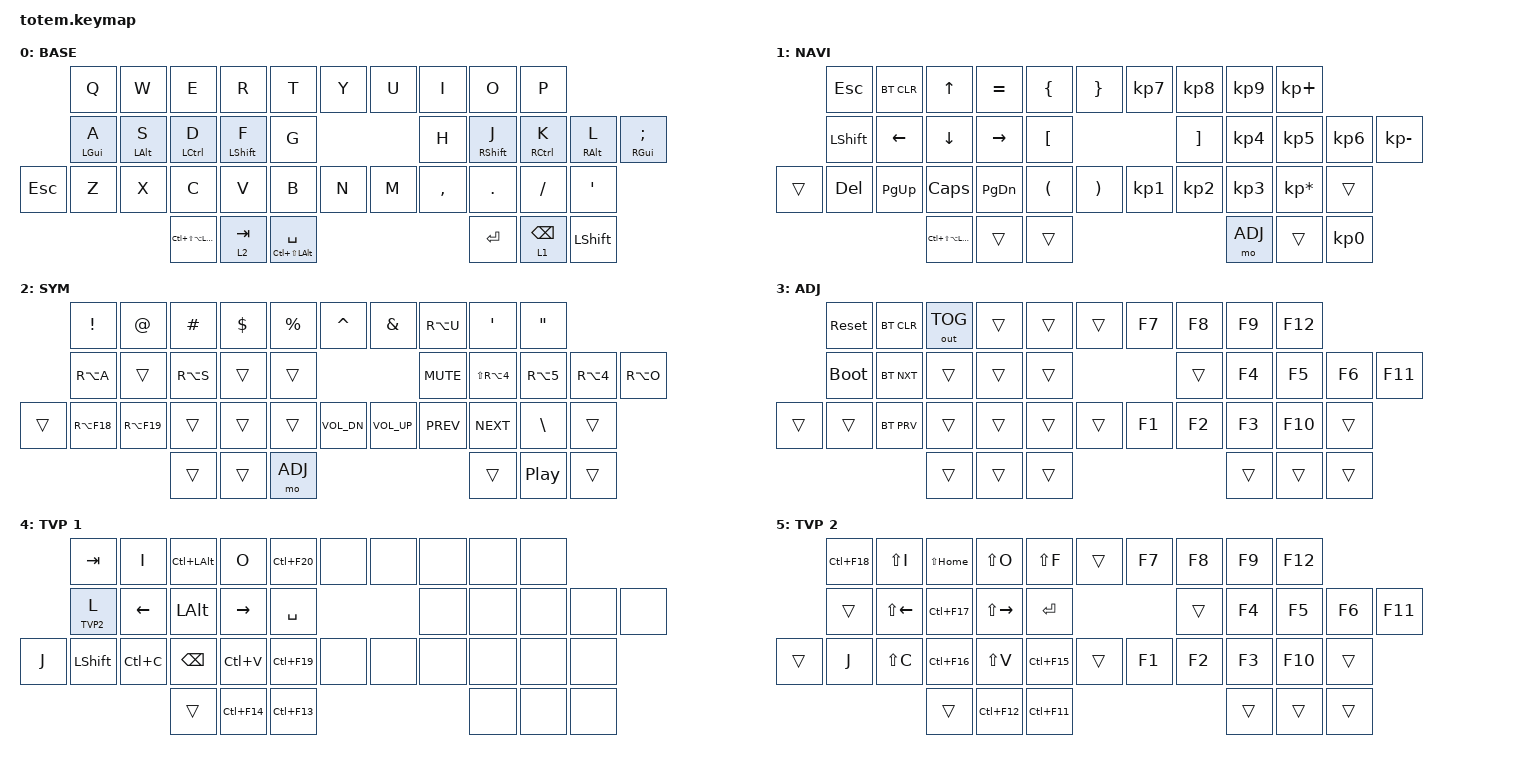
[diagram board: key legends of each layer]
//
//                                                        ▀▀▀▀▀     ▀▀▀▀▀          ▀▀█▀▀
//                                                        ▄▀▀▀▄  ▄  ▄▀▀▀▄  ▄  ▄▀▀▀▄  █  ▄▀▀▀▄
//                                                        █   █  █  █   █  █  █   █  █  █   █
//                                                         ▀▀▀   █   ▀▀▀   █   ▀▀▀   ▀   ▀▀▀
//                                                               █      ▄▄▄█▄▄▄    █   █  
//                                                               ▀      █  █  █     █▄█
//                                                             ▀▀▀▀▀    █  █  █      ▀
//                                                                      ▀  ▀  ▀
//
// ▄▄▄▄▄▄▄▄▄▄▄▄▄▄▄▄▄▄▄▄▄▄▄▄▄▄▄▄▄▄▄▄▄▄▄▄▄▄▄▄▄▄▄▄▄▄▄▄▄▄▄▄▄▄▄▄▄▄▄▄▄▄▄▄▄▄▄▄▄▄▄▄▄▄▄▄▄▄▄▄▄▄▄▄▄▄▄▄▄▄▄▄▄▄▄▄▄▄▄▄▄▄▄▄▄▄▄▄▄▄▄▄▄▄▄▄▄▄▄▄▄▄▄▄▄▄▄▄▄▄▄▄▄▄▄▄▄▄▄▄▄▄▄▄▄▄▄▄▄

#include <behaviors.dtsi>
#include <dt-bindings/zmk/bt.h>
#include <dt-bindings/zmk/keys.h>
#include <dt-bindings/zmk/outputs.h>

#define BASE 0
#define NAV  1
#define SYM  2
#define ADJ  3
#define TVP1 4
#define TVP2 5

&mt {
    quick-tap-ms = <150>;
    global-quick-tap;
    flavor = "tap-preferred";
    tapping-term-ms = <170>;
};

/ {
    behaviors {
    hml: home_row_mod_left {
        compatible = "zmk,behavior-hold-tap";
        #binding-cells = <2>;
        flavor = "balanced";
        require-prior-idle-ms = <150>;
        tapping-term-ms = <280>;
        quick-tap-ms = <175>;
        bindings = <&kp>, <&kp>;

        hold-trigger-key-positions = < 15 16 17 18 >; // List of keys on the right side of the keyboard
        hold-trigger-on-release;
    };

    hmr: home_row_mod_right {
        compatible = "zmk,behavior-hold-tap";
        #binding-cells = <2>;
        flavor = "balanced";
        require-prior-idle-ms = <150>;
        tapping-term-ms = <280>;
        quick-tap-ms = <175>;
        bindings = <&kp>, <&kp>;

        hold-trigger-key-positions = < 10 11 12 13 >; // List of keys on the left side of the keyboard
        hold-trigger-on-release;
    };
    };

    combos { compatible = "zmk,combos"; };

    macros {
        HYPER: HYPER {
            compatible = "zmk,behavior-macro";
            #binding-cells = <0>;
            bindings =
                <&macro_tap &kp LEFT_SHIFT &kp LEFT_GUI &kp LEFT_ALT &kp LEFT_CONTROL>;

            label = "HYPER";
        };
    };

    behaviors {
    };

    keymap {
        compatible = "zmk,keymap";

        // ▄▄▄▄▄▄▄▄▄▄▄▄▄▄▄▄▄▄▄▄▄▄▄▄▄▄▄▄▄▄▄▄▄▄▄▄▄▄▄▄▄▄▄▄▄▄▄▄▄▄▄▄▄▄▄▄▄▄▄▄▄▄▄▄▄▄▄▄▄▄▄▄▄▄▄▄▄▄▄▄▄▄▄▄▄▄▄▄▄▄▄▄▄▄▄▄▄▄▄▄▄▄▄▄▄▄▄▄▄▄▄▄▄▄▄▄▄▄▄▄▄▄▄▄▄▄▄▄▄▄▄▄▄▄▄▄▄▄▄▄▄▄▄▄▄▄▄▄▄

        base_layer {
            // ┏━━━━━━━━━━━━━━━━━━━━━━━━━━━━━━━━━━━━━━━┓

            label = "BASE";

            // ┗━━━━━━━━━━━━━━━━━━━━━━━━━━━━━━━━━━━━━━━┛
            //             ┏━━━━━━━━━━━┳━━━━━━━━━━━┳━━━━━━━━━━━┳━━━━━━━━━━━┳━━━━━━━━━━━┓   ┏━━━━━━━━━━━┳━━━━━━━━━━━┳━━━━━━━━━━━┳━━━━━━━━━━━┳━━━━━━━━━━━┓
            //             ┃     Q     ┃     W     ┃     F     ┃     P     ┃     G     ┃   ┃     J     ┃     L     ┃     U     ┃     Y     ┃     ;     ┃
            //             ┣━━━━━━━━━━━╋━━━━━━━━━━━╋━━━━━━━━━━━╋━━━━━━━━━━━╋━━━━━━━━━━━┫   ┣━━━━━━━━━━━╋━━━━━━━━━━━╋━━━━━━━━━━━╋━━━━━━━━━━━╋━━━━━━━━━━━┫
            //             ┃     A     ┃     R     ┃     S     ┃     T     ┃     D     ┃   ┃     H     ┃     N     ┃     E     ┃     I     ┃     O     ┃
            // ┏━━━━━━━━━━━╋━━━━━━━━━━━╋━━━━━━━━━━━╋━━━━━━━━━━━╋━━━━━━━━━━━╋━━━━━━━━━━━┫   ┣━━━━━━━━━━━╋━━━━━━━━━━━╋━━━━━━━━━━━╋━━━━━━━━━━━╋━━━━━━━━━━━╋━━━━━━━━━━━┓
            // ┃     Q     ┃     Z     ┃     X     ┃     C     ┃     V     ┃     B     ┃   ┃     K     ┃     M     ┃     ,     ┃     .     ┃     /     ┃     \     ┃
            // ┗━━━━━━━━━━━┻━━━━━━━━━━━┻━━━━━━━━━━━╋━━━━━━━━━━━╋━━━━━━━━━━━╋━━━━━━━━━━━┫   ┣━━━━━━━━━━━╋━━━━━━━━━━━╋━━━━━━━━━━━╋━━━━━━━━━━━┻━━━━━━━━━━━┻━━━━━━━━━━━┛
            //                                     ┃    DEL    ┃    TAB    ┃    SPC    ┃   ┃   ENTER   ┃           ┃   BSPC    ┃
            //                                     ┗━━━━━━━━━━━┻━━━━━━━━━━━┻━━━━━━━━━━━┛   ┗━━━━━━━━━━━┻━━━━━━━━━━━┻━━━━━━━━━━━┛

            bindings = <
         &kp Q            &kp W            &kp E         &kp R         &kp T        &kp Y      &kp U            &kp I           &kp O    &kp P
         &hml LEFT_GUI A  &hml LEFT_ALT S  &hml LCTRL D  &hml LSHFT F  &kp G        &kp H      &hmr RSHIFT J            &hmr RCTRL K           &hmr RIGHT_ALT L    &hmr RIGHT_GUI SEMI
&kp ESC  &kp Z            &kp X            &kp C         &kp V         &kp B        &kp N      &kp M            &kp COMMA       &kp DOT  &kp FSLH  &kp SQT
                                           &kp LC(LS(LA(LEFT_GUI)))        &lt 2 TAB     &mt LC(LS(LALT)) SPACE    &kp ENTER  &lt 1 BACKSPACE  &kp LEFT_SHIFT
            >;
        };

        // ▄▄▄▄▄▄▄▄▄▄▄▄▄▄▄▄▄▄▄▄▄▄▄▄▄▄▄▄▄▄▄▄▄▄▄▄▄▄▄▄▄▄▄▄▄▄▄▄▄▄▄▄▄▄▄▄▄▄▄▄▄▄▄▄▄▄▄▄▄▄▄▄▄▄▄▄▄▄▄▄▄▄▄▄▄▄▄▄▄▄▄▄▄▄▄▄▄▄▄▄▄▄▄▄▄▄▄▄▄▄▄▄▄▄▄▄▄▄▄▄▄▄▄▄▄▄▄▄▄▄▄▄▄▄▄▄▄▄▄▄▄▄▄▄▄▄▄▄▄

        nav_layer {
            // ┏━━━━━━━━━━━━━━━━━━━━━━━━━━━━━━━━━━━━━━━┓

            label = "NAVI";

            // ┗━━━━━━━━━━━━━━━━━━━━━━━━━━━━━━━━━━━━━━━┛
            //             ┏━━━━━━━━━━━┳━━━━━━━━━━━┳━━━━━━━━━━━┳━━━━━━━━━━━┳━━━━━━━━━━━┓   ┏━━━━━━━━━━━┳━━━━━━━━━━━┳━━━━━━━━━━━┳━━━━━━━━━━━┳━━━━━━━━━━━┓
            //             ┃           ┃           ┃     UP    ┃           ┃     {     ┃   ┃     }     ┃     7     ┃     8     ┃     9     ┃     +     ┃
            //             ┣━━━━━━━━━━━╋━━━━━━━━━━━╋━━━━━━━━━━━╋━━━━━━━━━━━╋━━━━━━━━━━━┫   ┣━━━━━━━━━━━╋━━━━━━━━━━━╋━━━━━━━━━━━╋━━━━━━━━━━━╋━━━━━━━━━━━┫
            //             ┃   SHIFT   ┃   LEFT    ┃    DOWN   ┃   RIGHT   ┃     [     ┃   ┃     ]     ┃     4     ┃     5     ┃     6     ┃     -     ┃
            // ┏━━━━━━━━━━━╋━━━━━━━━━━━╋━━━━━━━━━━━╋━━━━━━━━━━━╋━━━━━━━━━━━╋━━━━━━━━━━━┫   ┣━━━━━━━━━━━╋━━━━━━━━━━━╋━━━━━━━━━━━╋━━━━━━━━━━━╋━━━━━━━━━━━╋━━━━━━━━━━━┓
            // ┃           ┃           ┃   P UP    ┃  C LOCK   ┃  P DOWN   ┃     (     ┃   ┃     )     ┃     1     ┃     2     ┃     3     ┃     *     ┃           ┃
            // ┗━━━━━━━━━━━┻━━━━━━━━━━━┻━━━━━━━━━━━╋━━━━━━━━━━━╋━━━━━━━━━━━╋━━━━━━━━━━━┫   ┣━━━━━━━━━━━╋━━━━━━━━━━━╋━━━━━━━━━━━╋━━━━━━━━━━━┻━━━━━━━━━━━┻━━━━━━━━━━━┛
            //                                     ┃           ┃    TAB    ┃    SPC    ┃   ┃    DEL    ┃     0     ┃           ┃
            //                                     ┗━━━━━━━━━━━┻━━━━━━━━━━━┻━━━━━━━━━━━┛   ┗━━━━━━━━━━━┻━━━━━━━━━━━┻━━━━━━━━━━━┛

            bindings = <
        &kp ESC    &bt BT_CLR  &kp UP    &kp EQUAL  &kp LBRC    &kp RBRC  &kp KP_N7  &kp KP_N8        &kp KP_N9  &kp KP_PLUS
        &kp LSHFT  &kp LEFT    &kp DOWN  &kp RIGHT  &kp LBKT    &kp RBKT  &kp KP_N4  &kp KP_N5        &kp KP_N6  &kp KP_MINUS
&trans  &kp DEL    &kp PG_UP   &kp CAPS  &kp PG_DN  &kp LPAR    &kp RPAR  &kp KP_N1  &kp KP_N2        &kp KP_N3  &kp KP_MULTIPLY  &trans
                               &kp LC(LS(LA(LEFT_GUI)))    &trans     &trans      &mo ADJ   &trans     &kp KP_NUMBER_0
            >;
        };

        // ▄▄▄▄▄▄▄▄▄▄▄▄▄▄▄▄▄▄▄▄▄▄▄▄▄▄▄▄▄▄▄▄▄▄▄▄▄▄▄▄▄▄▄▄▄▄▄▄▄▄▄▄▄▄▄▄▄▄▄▄▄▄▄▄▄▄▄▄▄▄▄▄▄▄▄▄▄▄▄▄▄▄▄▄▄▄▄▄▄▄▄▄▄▄▄▄▄▄▄▄▄▄▄▄▄▄▄▄▄▄▄▄▄▄▄▄▄▄▄▄▄▄▄▄▄▄▄▄▄▄▄▄▄▄▄▄▄▄▄▄▄▄▄▄▄▄▄▄▄

        sim_layer {
            // ┏━━━━━━━━━━━━━━━━━━━━━━━━━━━━━━━━━━━━━━━┓

            label = "SYM";

            // ┗━━━━━━━━━━━━━━━━━━━━━━━━━━━━━━━━━━━━━━━┛
            //             ┏━━━━━━━━━━━┳━━━━━━━━━━━┳━━━━━━━━━━━┳━━━━━━━━━━━┳━━━━━━━━━━━┓   ┏━━━━━━━━━━━┳━━━━━━━━━━━┳━━━━━━━━━━━┳━━━━━━━━━━━┳━━━━━━━━━━━┓
            //             ┃     !     ┃     @     ┃     #     ┃     $     ┃     %     ┃   ┃     ˆ     ┃     &     ┃     Ü     ┃     '     ┃     "     ┃
            //             ┣━━━━━━━━━━━╋━━━━━━━━━━━╋━━━━━━━━━━━╋━━━━━━━━━━━╋━━━━━━━━━━━┫   ┣━━━━━━━━━━━╋━━━━━━━━━━━╋━━━━━━━━━━━╋━━━━━━━━━━━╋━━━━━━━━━━━┫
            //             ┃     Ä     ┃           ┃    SZ     ┃           ┃           ┃   ┃   MUTE    ┃   YEN     ┃   EURO    ┃  POUND    ┃     Ö     ┃
            // ┏━━━━━━━━━━━╋━━━━━━━━━━━╋━━━━━━━━━━━╋━━━━━━━━━━━╋━━━━━━━━━━━╋━━━━━━━━━━━┫   ┣━━━━━━━━━━━╋━━━━━━━━━━━╋━━━━━━━━━━━╋━━━━━━━━━━━╋━━━━━━━━━━━╋━━━━━━━━━━━┓
            // ┃           ┃  EMAIL1   ┃  EMAIL2   ┃           ┃           ┃           ┃   ┃   VOL-    ┃   VOL+    ┃   LAST    ┃   NEXT    ┃     \     ┃           ┃
            // ┗━━━━━━━━━━━┻━━━━━━━━━━━┻━━━━━━━━━━━╋━━━━━━━━━━━╋━━━━━━━━━━━╋━━━━━━━━━━━┫   ┣━━━━━━━━━━━╋━━━━━━━━━━━╋━━━━━━━━━━━╋━━━━━━━━━━━┻━━━━━━━━━━━┻━━━━━━━━━━━┛
            //                                     ┃           ┃    GIF    ┃    ADJ    ┃   ┃           ┃           ┃           ┃
            //                                     ┗━━━━━━━━━━━┻━━━━━━━━━━━┻━━━━━━━━━━━┛   ┗━━━━━━━━━━━┻━━━━━━━━━━━┻━━━━━━━━━━━┛

            bindings = <
        &kp EXCL     &kp AT       &kp HASH   &kp DLLR  &kp PRCNT    &kp CARET     &kp AMPS        &kp RA(U)   &kp SQT     &kp DQT
        &kp RA(A)    &trans       &kp RA(S)  &trans    &trans       &kp C_MUTE    &kp LS(RA(N4))  &kp RA(N5)  &kp RA(N4)  &kp RA(O)
&trans  &kp RA(F18)  &kp RA(F19)  &trans     &trans    &trans       &kp C_VOL_DN  &kp C_VOL_UP    &kp C_PREV  &kp C_NEXT  &kp BSLH   &trans
                                  &trans     &trans    &mo ADJ      &trans        &kp C_PP        &trans
            >;
        };

        // ▄▄▄▄▄▄▄▄▄▄▄▄▄▄▄▄▄▄▄▄▄▄▄▄▄▄▄▄▄▄▄▄▄▄▄▄▄▄▄▄▄▄▄▄▄▄▄▄▄▄▄▄▄▄▄▄▄▄▄▄▄▄▄▄▄▄▄▄▄▄▄▄▄▄▄▄▄▄▄▄▄▄▄▄▄▄▄▄▄▄▄▄▄▄▄▄▄▄▄▄▄▄▄▄▄▄▄▄▄▄▄▄▄▄▄▄▄▄▄▄▄▄▄▄▄▄▄▄▄▄▄▄▄▄▄▄▄▄▄▄▄▄▄▄▄▄▄▄▄

        adjust_layer {
            // ┏━━━━━━━━━━━━━━━━━━━━━━━━━━━━━━━━━━━━━━━┓

            label = "ADJ";

            // ┗━━━━━━━━━━━━━━━━━━━━━━━━━━━━━━━━━━━━━━━┛
            //             ┏━━━━━━━━━━━┳━━━━━━━━━━━┳━━━━━━━━━━━┳━━━━━━━━━━━┳━━━━━━━━━━━┓   ┏━━━━━━━━━━━┳━━━━━━━━━━━┳━━━━━━━━━━━┳━━━━━━━━━━━┳━━━━━━━━━━━┓
            //             ┃   RESET   ┃ BT CLEAR  ┃  OUT TOG  ┃           ┃           ┃   ┃           ┃    F7     ┃    F8     ┃    F9     ┃    F12    ┃
            //             ┣━━━━━━━━━━━╋━━━━━━━━━━━╋━━━━━━━━━━━╋━━━━━━━━━━━╋━━━━━━━━━━━┫   ┣━━━━━━━━━━━╋━━━━━━━━━━━╋━━━━━━━━━━━╋━━━━━━━━━━━╋━━━━━━━━━━━┫
            //             ┃ BOOTLOAD  ┃ BT NEXT   ┃           ┃           ┃           ┃   ┃           ┃    F4     ┃    F5     ┃    F6     ┃    F11    ┃
            // ┏━━━━━━━━━━━╋━━━━━━━━━━━╋━━━━━━━━━━━╋━━━━━━━━━━━╋━━━━━━━━━━━╋━━━━━━━━━━━┫   ┣━━━━━━━━━━━╋━━━━━━━━━━━╋━━━━━━━━━━━╋━━━━━━━━━━━╋━━━━━━━━━━━╋━━━━━━━━━━━┓
            // ┃           ┃           ┃ BT PREV   ┃           ┃           ┃           ┃   ┃           ┃    F1     ┃    F2     ┃    F3     ┃    F10    ┃           ┃
            // ┗━━━━━━━━━━━┻━━━━━━━━━━━┻━━━━━━━━━━━╋━━━━━━━━━━━╋━━━━━━━━━━━╋━━━━━━━━━━━┫   ┣━━━━━━━━━━━╋━━━━━━━━━━━╋━━━━━━━━━━━╋━━━━━━━━━━━┻━━━━━━━━━━━┻━━━━━━━━━━━┛
            //                                     ┃           ┃           ┃           ┃   ┃           ┃           ┃           ┃
            //                                     ┗━━━━━━━━━━━┻━━━━━━━━━━━┻━━━━━━━━━━━┛   ┗━━━━━━━━━━━┻━━━━━━━━━━━┻━━━━━━━━━━━┛

            bindings = <
        &sys_reset   &bt BT_CLR  &out OUT_TOG  &trans  &trans    &trans  &kp F7  &kp F8  &kp F9  &kp F12
        &bootloader  &bt BT_NXT  &trans        &trans  &trans    &trans  &kp F4  &kp F5  &kp F6  &kp F11
&trans  &trans       &bt BT_PRV  &trans        &trans  &trans    &trans  &kp F1  &kp F2  &kp F3  &kp F10  &trans
                                 &trans        &trans  &trans    &trans  &trans  &trans
            >;
        };

        // ▄▄▄▄▄▄▄▄▄▄▄▄▄▄▄▄▄▄▄▄▄▄▄▄▄▄▄▄▄▄▄▄▄▄▄▄▄▄▄▄▄▄▄▄▄▄▄▄▄▄▄▄▄▄▄▄▄▄▄▄▄▄▄▄▄▄▄▄▄▄▄▄▄▄▄▄▄▄▄▄▄▄▄▄▄▄▄▄▄▄▄▄▄▄▄▄▄▄▄▄▄▄▄▄▄▄▄▄▄▄▄▄▄▄▄▄▄▄▄▄▄▄▄▄▄▄▄▄▄▄▄▄▄▄▄▄▄▄▄▄▄▄▄▄▄▄▄▄▄

        tvp1_layer {
            // ┏━━━━━━━━━━━━━━━━━━━━━━━━━━━━━━━━━━━━━━━┓

            label = "TVP 1";

            // ┗━━━━━━━━━━━━━━━━━━━━━━━━━━━━━━━━━━━━━━━┛
            //             ┏━━━━━━━━━━━┳━━━━━━━━━━━┳━━━━━━━━━━━┳━━━━━━━━━━━┳━━━━━━━━━━━┓   ┏━━━━━━━━━━━┳━━━━━━━━━━━┳━━━━━━━━━━━┳━━━━━━━━━━━┳━━━━━━━━━━━┓
            //             ┃ NEXT FILE ┃ MARK IN   ┃ ROTATE    ┃ MARK OUT  ┃ SHOW SNAP ┃   ┃           ┃           ┃           ┃           ┃           ┃
            //             ┣━━━━━━━━━━━╋━━━━━━━━━━━╋━━━━━━━━━━━╋━━━━━━━━━━━╋━━━━━━━━━━━┫   ┣━━━━━━━━━━━╋━━━━━━━━━━━╋━━━━━━━━━━━╋━━━━━━━━━━━╋━━━━━━━━━━━┫
            //             ┃ TVP II    ┃ LEFT      ┃ PAN       ┃ RIGHT     ┃ PLAY/FLIP ┃   ┃           ┃           ┃           ┃           ┃           ┃
            // ┏━━━━━━━━━━━╋━━━━━━━━━━━╋━━━━━━━━━━━╋━━━━━━━━━━━╋━━━━━━━━━━━╋━━━━━━━━━━━┫   ┣━━━━━━━━━━━╋━━━━━━━━━━━╋━━━━━━━━━━━╋━━━━━━━━━━━╋━━━━━━━━━━━╋━━━━━━━━━━━┓
            // ┃ FULLSCR   ┃ SHIFT     ┃ COPY      ┃ DELETE    ┃ PASTE     ┃ IMG MARK  ┃   ┃           ┃           ┃           ┃           ┃           ┃           ┃
            // ┗━━━━━━━━━━━┻━━━━━━━━━━━┻━━━━━━━━━━━╋━━━━━━━━━━━╋━━━━━━━━━━━╋━━━━━━━━━━━┫   ┣━━━━━━━━━━━╋━━━━━━━━━━━╋━━━━━━━━━━━╋━━━━━━━━━━━┻━━━━━━━━━━━┻━━━━━━━━━━━┛
            //                                     ┃           ┃ UNDO/SAVE ┃  SEL/MOV  ┃   ┃           ┃           ┃           ┃
            //                                     ┗━━━━━━━━━━━┻━━━━━━━━━━━┻━━━━━━━━━━━┛   ┗━━━━━━━━━━━┻━━━━━━━━━━━┻━━━━━━━━━━━┛

            bindings = <
       &kp TAB     &kp I      &kp LC(LALT)  &kp O        &kp LC(F20)    &none  &none  &none  &none  &none
       &lt TVP2 L  &kp LEFT   &kp LALT      &kp RIGHT    &kp SPACE      &none  &none  &none  &none  &none
&kp J  &kp LSHFT   &kp LC(C)  &kp BSPC      &kp LC(V)    &kp LC(F19)    &none  &none  &none  &none  &none  &none
                              &trans        &kp LC(F14)  &kp LC(F13)    &none  &none  &none
            >;
        };

        // ▄▄▄▄▄▄▄▄▄▄▄▄▄▄▄▄▄▄▄▄▄▄▄▄▄▄▄▄▄▄▄▄▄▄▄▄▄▄▄▄▄▄▄▄▄▄▄▄▄▄▄▄▄▄▄▄▄▄▄▄▄▄▄▄▄▄▄▄▄▄▄▄▄▄▄▄▄▄▄▄▄▄▄▄▄▄▄▄▄▄▄▄▄▄▄▄▄▄▄▄▄▄▄▄▄▄▄▄▄▄▄▄▄▄▄▄▄▄▄▄▄▄▄▄▄▄▄▄▄▄▄▄▄▄▄▄▄▄▄▄▄▄▄▄▄▄▄▄▄

        tvp2_layer {
            // ┏━━━━━━━━━━━━━━━━━━━━━━━━━━━━━━━━━━━━━━━┓

            label = "TVP 2";

            // ┗━━━━━━━━━━━━━━━━━━━━━━━━━━━━━━━━━━━━━━━┛
            //             ┏━━━━━━━━━━━┳━━━━━━━━━━━┳━━━━━━━━━━━┳━━━━━━━━━━━┳━━━━━━━━━━━┓   ┏━━━━━━━━━━━┳━━━━━━━━━━━┳━━━━━━━━━━━┳━━━━━━━━━━━┳━━━━━━━━━━━┓
            //             ┃ SOLO      ┃ TOGGLE IN ┃ RESET ROT ┃ TOGGLE OUT┃ TAKE SNAP ┃   ┃           ┃           ┃           ┃           ┃           ┃
            //             ┣━━━━━━━━━━━╋━━━━━━━━━━━╋━━━━━━━━━━━╋━━━━━━━━━━━╋━━━━━━━━━━━┫   ┣━━━━━━━━━━━╋━━━━━━━━━━━╋━━━━━━━━━━━╋━━━━━━━━━━━╋━━━━━━━━━━━┫
            //             ┃ ---       ┃ LAST KEY  ┃ NEW KEY   ┃ NEXT KEY  ┃ ENTER     ┃   ┃           ┃           ┃           ┃           ┃           ┃
            // ┏━━━━━━━━━━━╋━━━━━━━━━━━╋━━━━━━━━━━━╋━━━━━━━━━━━╋━━━━━━━━━━━╋━━━━━━━━━━━┫   ┣━━━━━━━━━━━╋━━━━━━━━━━━╋━━━━━━━━━━━╋━━━━━━━━━━━╋━━━━━━━━━━━╋━━━━━━━━━━━┓
            // ┃           ┃ FULLSCR   ┃ CPY2BRUSH ┃ DEL HEAD  ┃ PSTinPLACE┃ BOOK MARK ┃   ┃           ┃           ┃           ┃           ┃           ┃           ┃
            // ┗━━━━━━━━━━━┻━━━━━━━━━━━┻━━━━━━━━━━━╋━━━━━━━━━━━╋━━━━━━━━━━━╋━━━━━━━━━━━┫   ┣━━━━━━━━━━━╋━━━━━━━━━━━╋━━━━━━━━━━━╋━━━━━━━━━━━┻━━━━━━━━━━━┻━━━━━━━━━━━┛
            //                                     ┃           ┃ REDO/SAV1 ┃TRANS/WARP ┃   ┃           ┃           ┃           ┃
            //                                     ┗━━━━━━━━━━━┻━━━━━━━━━━━┻━━━━━━━━━━━┛   ┗━━━━━━━━━━━┻━━━━━━━━━━━┻━━━━━━━━━━━┛

            bindings = <
        &kp LC(F18)  &kp LS(I)     &kp LS(HOME)  &kp LS(O)      &kp LS(F)      &trans  &kp F7  &kp F8  &kp F9  &kp F12
        &trans       &kp LS(LEFT)  &kp LC(F17)   &kp LS(RIGHT)  &kp RET        &trans  &kp F4  &kp F5  &kp F6  &kp F11
&trans  &kp J        &kp LS(C)     &kp LC(F16)   &kp LS(V)      &kp LC(F15)    &trans  &kp F1  &kp F2  &kp F3  &kp F10  &trans
                                   &trans        &kp LC(F12)    &kp LC(F11)    &trans  &trans  &trans
            >;
        };
    };
};
